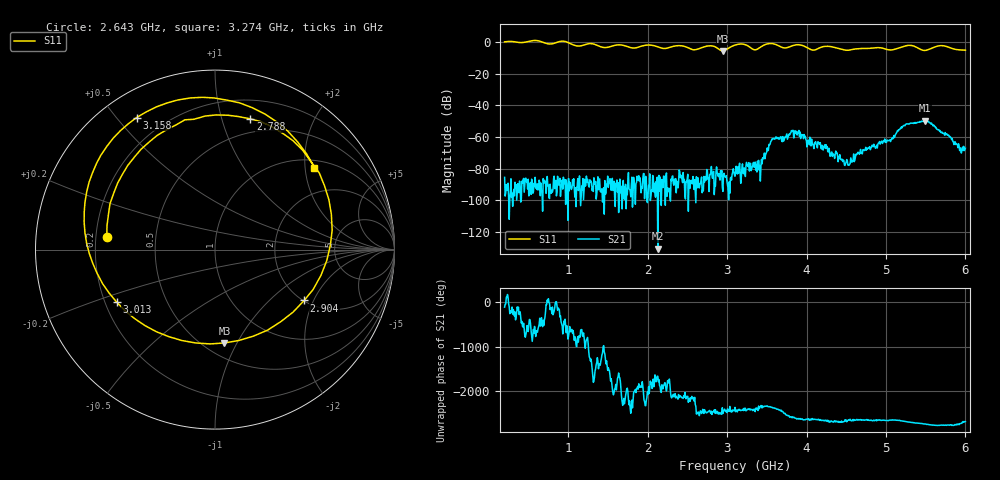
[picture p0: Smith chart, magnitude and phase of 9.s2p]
! NanoVNA-App by OneOfEleven et al v1.1.209 (+OD15)
! Date: 2024-07-30 15:17:57
! Start: 200MHz Stop: 6GHz Points: 801
! S-Parameter data: F S11 S21 S12 S22
# Hz S RI R 50
!  Frequency  S11_Real  S11_Imag  S21_Real  S21_Imag  S12_Real  S12_Imag  S22_Real  S22_Imag
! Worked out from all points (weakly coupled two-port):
!   801 points, 200 MHz to 6 GHz, reference 50 ohm
!   highest |S21| = -49.81 dB at 5.492 GHz (marker M1); lowest = -130.7 dB at 2.128 GHz (marker M2)
!   lowest |S11| = -5.6 dB at 2.948 GHz (marker M3), VSWR 3.19, Z = 31.1 - j44.5 ohm
!   |S11| at or under -10 dB: nowhere
!   S12 and S22 are empty: the file has one direction only
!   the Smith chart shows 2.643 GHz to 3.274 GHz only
!   S11 on the Smith chart (normalised r, x): 2.643 GHz: 0.25, +0.05; 2.788 GHz: 0.37, +1.24; 2.904 GHz: 2.02, -1.70; 3.013 GHz: 0.25, -0.23; 3.158 GHz: 0.10, +0.56; 3.274 GHz: 1.19, +2.24
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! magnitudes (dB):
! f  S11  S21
! 200 MHz  0.0  -85.6
! 1.171 GHz  -2.3  -91.0
! 2.128 GHz  -3.1  -130.7
! 2.136 GHz  -3.3  -100.0
! 2.643 GHz  -4.3  -91.8
! 2.788 GHz  -2.4  -83.9
! 2.904 GHz  -4.9  -85.6
! 2.948 GHz  -5.6  -94.5
! 3.013 GHz  -4.1  -92.6
! 3.1 GHz  -2.0  -84.9
! 3.158 GHz  -1.4  -76.7
! 3.274 GHz  -2.9  -76.3
! 3.397 GHz  -4.1  -74.8
! 3.579 GHz  -1.1  -61.3
! 3.803 GHz  -2.8  -57.4
! 4.072 GHz  -5.1  -63.9
! 4.506 GHz  -5.3  -74.3
! 5.036 GHz  -5.0  -62.4
! 5.239 GHz  -2.6  -53.0
! 5.492 GHz  -5.4  -49.8
! 5.696 GHz  -2.3  -57.0
! 6 GHz  -5.2  -67.2
